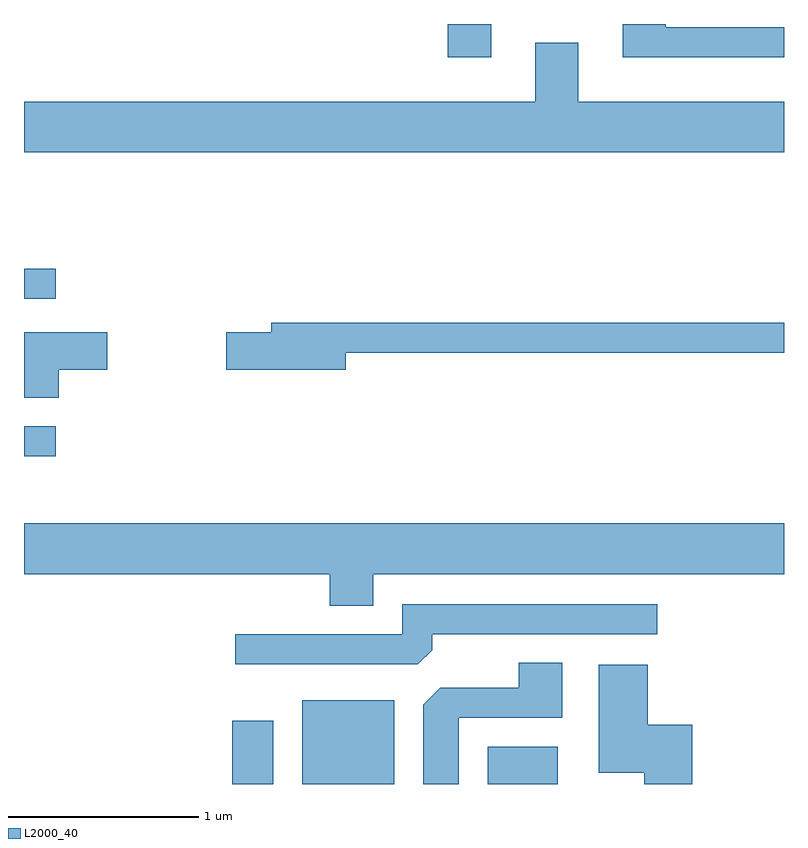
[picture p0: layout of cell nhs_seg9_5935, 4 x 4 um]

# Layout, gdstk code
import gdstk
lib = gdstk.Library(unit=1e-6, precision=1e-09)
def R(c, l, rs):  # rectangles x0, y0, x1, y1
    for r in rs: c.add(gdstk.rectangle(r[:2], r[2:], *l))
def P(c, l, *ps):  # polygons
    for p in ps: c.add(gdstk.Polygon(p, *l))
L2000_40 = (2000, 40)

nhs_seg9_5935 = lib.new_cell('nhs_seg9_5935')
R(nhs_seg9_5935, L2000_40, [(360.706,2048.432,360.924,2048.764), (361.076,2048.432,361.559,2048.874), (362.051,2048.432,362.419,2048.629), (359.611,2050.156,359.778,2050.314), (359.611,2050.986,359.778,2051.144), (361.841,2052.256,362.069,2052.432)])
P(nhs_seg9_5935, L2000_40, [(363.611,2052.414),(362.989,2052.414),(362.989,2052.432),(362.761,2052.432),(362.761,2052.256),(363.611,2052.256)],
  [(363.611,2052.024),(362.529,2052.024),(362.529,2052.334),(362.301,2052.334),(362.301,2052.024),(359.611,2052.024),(359.611,2051.756),(363.611,2051.756)],
  [(361.304,2050.701),(363.611,2050.701),(363.611,2050.859),(360.911,2050.859),(360.911,2050.809),(360.676,2050.809),(360.676,2050.611),(361.304,2050.611)],
  [(359.794,2050.611),(360.049,2050.611),(360.049,2050.809),(359.611,2050.809),(359.611,2050.466),(359.794,2050.466)],
  [(361.449,2049.536),(363.611,2049.536),(363.611,2049.804),(359.611,2049.804),(359.611,2049.536),(361.221,2049.536),(361.221,2049.371),(361.449,2049.371)],
  [(361.759,2049.137),(361.759,2049.221),(362.943,2049.221),(362.943,2049.379),(361.601,2049.379),(361.601,2049.219),(360.723,2049.219),(360.723,2049.061),(361.684,2049.061)],
  [(361.899,2048.781),(362.444,2048.781),(362.444,2049.069),(362.216,2049.069),(362.216,2048.939),(361.802,2048.939),(361.711,2048.849),(361.711,2048.432),(361.899,2048.432)],
  [(363.129,2048.744),(362.894,2048.744),(362.894,2049.059),(362.636,2049.059),(362.636,2048.491),(362.876,2048.491),(362.876,2048.432),(363.129,2048.432)])

lib.write_gds('nhs_seg9_5935.gds')
